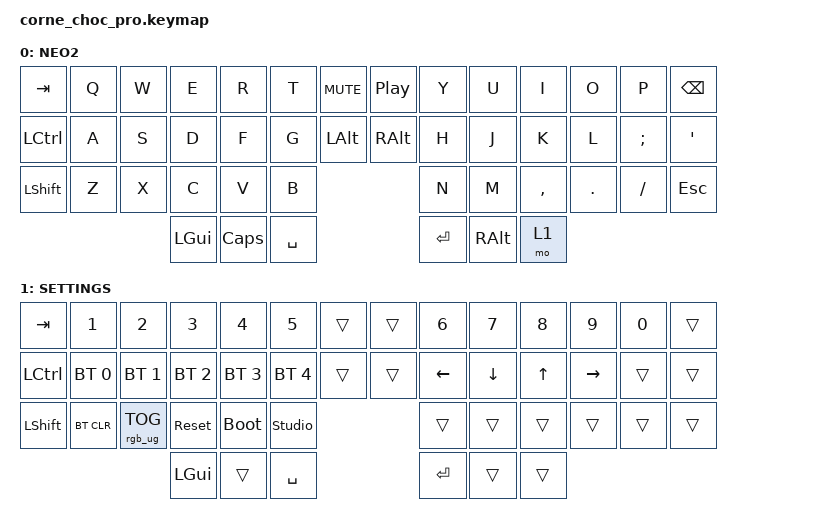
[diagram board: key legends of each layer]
/*
 * Copyright (c) 2020 The ZMK Contributors
 *
 * SPDX-License-Identifier: MIT
 *
 * ============================================================================
 * NEO2 — host-driven layout
 * ============================================================================
 * This keymap sends STANDARD POSITIONAL keycodes (&kp Q, &kp W, ...). It does
 * NOT bake Neo2 into the firmware. Neo2 is produced by the HOST keyboard layout.
 *
 *   REQUIRED HOST LAYOUT:  de(neo)   (i.e. layout "de", variant "neo")
 *
 * This is intentional: your laptop and the MS Natural already run de(neo), so
 * all three keyboards behave identically and you never toggle host layouts.
 *
 * Neo's higher layers come from the host, reached by HOLDING a modifier:
 *   - Hold CAPS  -> Neo Mod3  (symbols / programming chars)
 *   - Hold RALT  -> Neo Mod4  (navigation / numpad)
 *   - add Shift  -> Greek / math levels
 * You do not need to design these layers — de(neo) already defines them.
 *
 * The only ZMK layer below is a SETTINGS layer for things the host cannot do
 * (Bluetooth, bootloader, reset, RGB). To build the Neo2 firmware, this file
 * must be named config/corne_choc_pro.keymap (see README).
 * ============================================================================
 */

#include <behaviors.dtsi>
#include <dt-bindings/zmk/bt.h>
#include <dt-bindings/zmk/keys.h>
#include <dt-bindings/zmk/rgb.h>

/ {
    chosen { zmk,physical-layout = &default_layout; };
};

/ {
    keymap {
        compatible = "zmk,keymap";

        // Base alpha block is plain US-positional; the host (de(neo)) maps each
        // physical position to its Neo2 character. Hold CAPS / RALT for Neo's
        // Mod3 / Mod4 layers.
        base {
            display-name = "NEO2";
            bindings = <
&kp TAB    &kp Q  &kp W  &kp E  &kp R  &kp T    &kp C_MUTE  &kp C_PP   &kp Y    &kp U  &kp I      &kp O    &kp P     &kp BSPC
&kp LCTRL  &kp A  &kp S  &kp D  &kp F  &kp G    &kp LALT    &kp RALT   &kp H    &kp J  &kp K      &kp L    &kp SEMI  &kp SQT
&kp LSHFT  &kp Z  &kp X  &kp C  &kp V  &kp B                           &kp N    &kp M  &kp COMMA  &kp DOT  &kp FSLH  &kp ESC
                         &kp LGUI  &kp CAPS  &kp SPACE                 &kp RET  &kp RALT  &mo 1
            >;
        };

        // Firmware-only controls (host can't provide these). Reach via the
        // right-most thumb (&mo 1). BT0..BT4 select profiles, BTCLR clears the
        // current one, BOOT enters the bootloader for flashing.
        settings {
            display-name = "SETTINGS";
            bindings = <
&kp TAB    &kp N1        &kp N2           &kp N3        &kp N4        &kp N5          &trans  &trans  &kp N6    &kp N7    &kp N8  &kp N9     &kp N0  &trans
&kp LCTRL  &bt BT_SEL 0  &bt BT_SEL 1     &bt BT_SEL 2  &bt BT_SEL 3  &bt BT_SEL 4    &trans  &trans  &kp LEFT  &kp DOWN  &kp UP  &kp RIGHT  &trans  &trans
&kp LSHFT  &bt BT_CLR    &rgb_ug RGB_TOG  &sys_reset    &bootloader   &studio_unlock                  &trans    &trans    &trans  &trans     &trans  &trans
                                          &kp LGUI      &trans        &kp SPACE                       &kp RET   &trans    &trans
            >;
        };
    };
};
